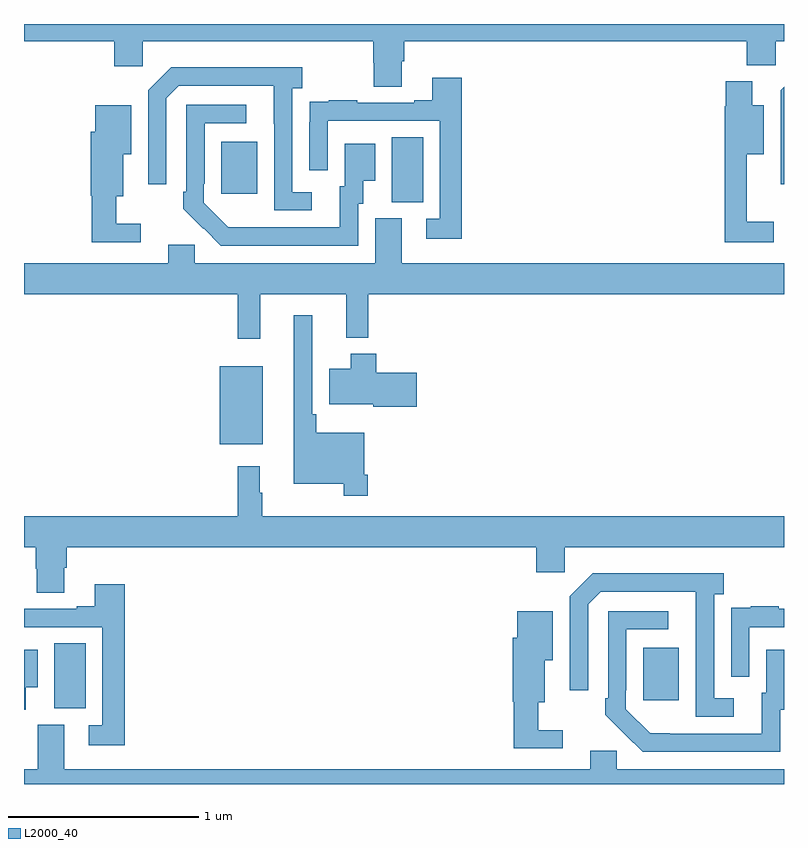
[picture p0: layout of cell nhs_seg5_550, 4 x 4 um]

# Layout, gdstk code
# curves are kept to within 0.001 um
import gdstk
lib = gdstk.Library(unit=1e-6, precision=1e-09)
def R(c, l, rs):  # rectangles x0, y0, x1, y1
    for r in rs: c.add(gdstk.rectangle(r[:2], r[2:], *l))
def P(c, l, *ps):  # polygons
    for p in ps: c.add(gdstk.Polygon(p, *l))
L2000_40 = (2000, 40)

nhs_seg5_550 = lib.new_cell('nhs_seg5_550')
R(nhs_seg5_550, L2000_40, [(145.16,905.197,145.324,905.54), (148.259,905.241,148.447,905.515), (146.03,906.587,146.257,906.997), (146.936,907.861,147.1,908.204), (146.039,907.905,146.227,908.179)])
P(nhs_seg5_550, L2000_40, [(146.989,908.602),(147.002,908.602),(147.002,908.708),(148.805,908.708),(148.805,908.582),(148.956,908.582),(148.956,908.708),(149,908.708),(149,908.799),(145,908.799),(145,908.708),(145.475,908.708),(145.475,908.577),(145.626,908.577),(145.626,908.708),(146.837,908.708),(146.837,908.595),(146.842,908.595),(146.842,908.47),(146.989,908.47)],
  [(146.515,907.914),(146.412,907.914),(146.412,908.462),(146.464,908.462),(146.464,908.572),(145.774,908.572),(145.653,908.451),(145.653,907.956),(145.749,907.956),(145.749,908.409),(145.815,908.475),(146.315,908.475),(146.316,907.818),(146.515,907.818)],
  [(147.305,908.515),(147.149,908.515),(147.149,908.398),(147.053,908.398),(147.053,908.385),(146.753,908.385),(146.753,908.398),(146.605,908.398),(146.605,908.391),(146.503,908.391),(146.503,908.282),(146.502,908.282),(146.502,908.028),(146.598,908.028),(146.598,908.289),(147.189,908.289),(147.189,907.773),(147.117,907.773),(147.117,907.668),(147.305,907.668)],
  [(148.945,907.759),(148.805,907.759),(148.805,908.114),(148.894,908.114),(148.894,908.371),(148.834,908.371),(148.834,908.497),(148.694,908.497),(148.694,908.367),(148.687,908.367),(148.687,907.65),(148.945,907.65)],
  [(149,908.468),(148.983,908.451),(148.983,907.956),(149,907.956)],
  [(146.76,907.854),(146.785,907.854),(146.785,907.973),(146.848,907.973),(146.848,908.17),(146.687,908.17),(146.687,907.944),(146.663,907.944),(146.663,907.728),(146.076,907.729),(145.947,907.857),(145.947,907.957),(145.95,907.957),(145.95,908.277),(146.17,908.277),(146.17,908.373),(145.854,908.373),(145.854,907.915),(145.839,907.915),(145.839,907.827),(146.036,907.632),(146.76,907.632)],
  [(145.615,907.747),(145.486,907.747),(145.486,907.892),(145.522,907.892),(145.522,908.114),(145.564,908.114),(145.564,908.371),(145.376,908.371),(145.376,908.232),(145.352,908.232),(145.352,907.896),(145.357,907.896),(145.357,907.65),(145.615,907.65)],
  [(146.243,907.376),(146.696,907.376),(146.696,907.148),(146.813,907.148),(146.813,907.376),(149,907.376),(149,907.54),(146.989,907.54),(146.989,907.776),(146.849,907.776),(146.849,907.54),(145.899,907.54),(145.899,907.638),(145.76,907.638),(145.76,907.54),(145,907.54),(145,907.376),(146.125,907.376),(146.125,907.143),(146.243,907.143)],
  [(146.81,906.427),(146.79,906.427),(146.79,906.649),(146.537,906.649),(146.537,906.745),(146.517,906.745),(146.517,907.267),(146.42,907.267),(146.42,906.38),(146.682,906.38),(146.682,906.315),(146.81,906.315)],
  [(147.067,906.963),(146.855,906.963),(146.855,907.063),(146.72,907.063),(146.72,906.985),(146.606,906.985),(146.606,906.797),(146.838,906.797),(146.838,906.785),(147.067,906.785)],
  [(145.213,905.938),(145.226,905.938),(145.226,906.044),(147.695,906.044),(147.695,905.913),(147.846,905.913),(147.846,906.044),(149,906.044),(149,906.208),(146.254,906.208),(146.254,906.332),(146.242,906.332),(146.242,906.472),(146.125,906.472),(146.125,906.208),(145,906.208),(145,906.044),(145.061,906.044),(145.061,905.931),(145.066,905.931),(145.066,905.806),(145.213,905.806)],
  [(148.735,905.25),(148.632,905.25),(148.632,905.798),(148.684,905.798),(148.684,905.908),(147.994,905.908),(147.873,905.787),(147.873,905.292),(147.969,905.292),(147.969,905.745),(148.035,905.811),(148.535,905.811),(148.536,905.154),(148.735,905.154)],
  [(145.529,905.851),(145.373,905.851),(145.373,905.734),(145.277,905.734),(145.277,905.721),(145,905.721),(145,905.625),(145.413,905.625),(145.413,905.109),(145.341,905.109),(145.341,905.004),(145.529,905.004)],
  [(148.818,905.625),(149,905.625),(149,905.721),(148.973,905.721),(148.973,905.734),(148.825,905.734),(148.825,905.727),(148.723,905.727),(148.723,905.618),(148.722,905.618),(148.722,905.364),(148.818,905.364)],
  [(148.98,905.19),(149,905.19),(149,905.506),(148.907,905.506),(148.907,905.28),(148.883,905.28),(148.883,905.064),(148.296,905.065),(148.167,905.193),(148.167,905.293),(148.17,905.293),(148.17,905.613),(148.39,905.613),(148.39,905.709),(148.074,905.709),(148.074,905.251),(148.059,905.251),(148.059,905.163),(148.256,904.968),(148.98,904.968)],
  [(147.835,905.083),(147.706,905.083),(147.706,905.228),(147.742,905.228),(147.742,905.45),(147.784,905.45),(147.784,905.707),(147.596,905.707),(147.596,905.568),(147.572,905.568),(147.572,905.232),(147.577,905.232),(147.577,904.986),(147.835,904.986)],
  [(145.009,905.309),(145.072,905.309),(145.072,905.506),(145,905.506),(145,905.19),(145.009,905.19)],
  [(149,904.876),(148.119,904.876),(148.119,904.974),(147.98,904.974),(147.98,904.876),(145.213,904.876),(145.213,905.112),(145.073,905.112),(145.073,904.876),(145,904.876),(145,904.799),(149,904.799)])

lib.write_gds('nhs_seg5_550.gds')
